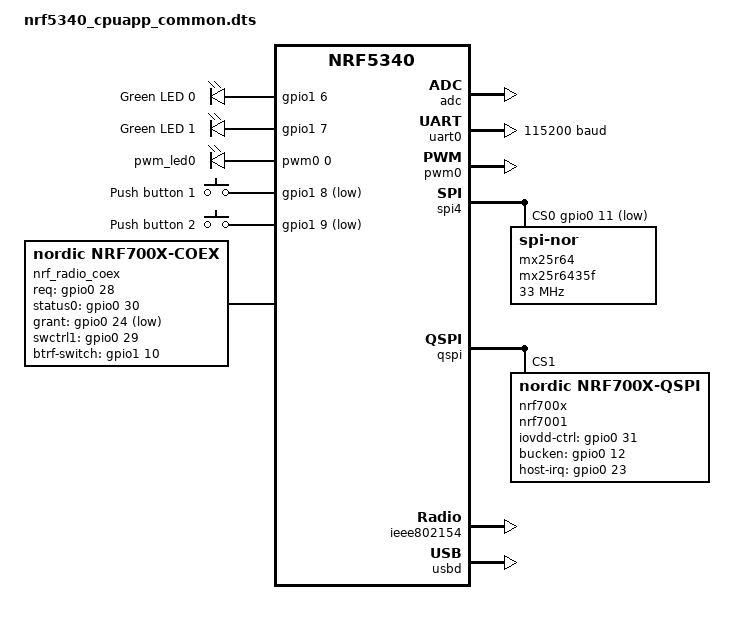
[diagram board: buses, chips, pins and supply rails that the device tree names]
/*
 * Copyright (c) 2023 Nordic Semiconductor ASA
 *
 * SPDX-License-Identifier: LicenseRef-Nordic-5-Clause
 */
#include "nrf5340_cpuapp_common-pinctrl.dtsi"

/ {

	chosen {
		zephyr,console = &uart0;
		zephyr,shell-uart = &uart0;
		zephyr,uart-mcumgr = &uart0;
		zephyr,bt-mon-uart = &uart0;
		zephyr,bt-c2h-uart = &uart0;
		zephyr,bt-hci-rpmsg-ipc = &ipc0;
		nordic,802154-spinel-ipc = &ipc0;
		zephyr,ieee802154 = &ieee802154;
	};

	leds {
		compatible = "gpio-leds";
		led0: led_0 {
			gpios = <&gpio1 6 GPIO_ACTIVE_HIGH>;
			label = "Green LED 0";
		};
		led1: led_1 {
			gpios = <&gpio1 7 GPIO_ACTIVE_HIGH>;
			label = "Green LED 1";
		};
	};

	pwmleds {
		compatible = "pwm-leds";
		pwm_led0: pwm_led_0 {
			pwms = <&pwm0 0 PWM_MSEC(20) PWM_POLARITY_NORMAL>;
		};
	};

	buttons {
		compatible = "gpio-keys";
		button0: button_0 {
			gpios = <&gpio1 8 (GPIO_PULL_UP | GPIO_ACTIVE_LOW)>;
			label = "Push button 1";
		};
		button1: button_1 {
			gpios = <&gpio1 9 (GPIO_PULL_UP | GPIO_ACTIVE_LOW)>;
			label = "Push button 2";
		};
	};

	gpio_fwd: nrf-gpio-forwarder {
		compatible = "nordic,nrf-gpio-forwarder";
		status = "okay";
		uart {
			gpios = <&gpio1 1 0>, <&gpio1 0 0>, <&gpio1 5 0>, <&gpio1 4 0>;
		};
	};

	nrf_radio_coex: nrf7001-coex {
		status = "okay";
		compatible = "nordic,nrf700x-coex";
		req-gpios = <&gpio0 28 GPIO_ACTIVE_HIGH>;
		status0-gpios = <&gpio0 30 GPIO_ACTIVE_HIGH>;
		grant-gpios = <&gpio0 24 (GPIO_PULL_DOWN | GPIO_ACTIVE_LOW)>;
		swctrl1-gpios = <&gpio0 29 GPIO_ACTIVE_HIGH>;
		btrf-switch-gpios = <&gpio1 10 GPIO_ACTIVE_HIGH>;
	};

	/* These aliases are provided for compatibility with samples */
	aliases {
		led0 = &led0;
		led1 = &led1;
		pwm-led0 = &pwm_led0;
		sw0 = &button0;
		sw1 = &button1;
		bootloader-led0 = &led0;
		mcuboot-button0 = &button0;
		mcuboot-led0 = &led0;
	};
};

&adc {
	status = "okay";
};

&gpiote {
	status = "okay";
};

&gpio0 {
	status = "okay";
};

&gpio1 {
	status = "okay";
};


&uart0 {
	status = "okay";
	current-speed = <115200>;
	pinctrl-0 = <&uart0_default>;
	pinctrl-1 = <&uart0_sleep>;
	pinctrl-names = "default", "sleep";
};

&pwm0 {
	status = "okay";
	pinctrl-0 = <&pwm0_default>;
	pinctrl-1 = <&pwm0_sleep>;
	pinctrl-names = "default", "sleep";
};

&spi4 {
	compatible = "nordic,nrf-spim";
	status = "okay";
	pinctrl-0 = <&spi4_default>;
	pinctrl-1 = <&spi4_sleep>;
	pinctrl-names = "default", "sleep";
	cs-gpios = <&gpio0 11 GPIO_ACTIVE_LOW>;
	mx25r64: mx25r6435f@0 {
		compatible = "jedec,spi-nor";
		reg = <0>;
		spi-max-frequency = <33000000>;
		jedec-id = [c2 28 17];
		sfdp-bfp = [
			e5 20 f1 ff ff ff ff 03 44 eb 08 6b 08 3b 04 bb
			ee ff ff ff ff ff 00 ff ff ff 00 ff 0c 20 0f 52
			10 d8 00 ff 23 72 f5 00 82 ed 04 cc 44 83 68 44
			30 b0 30 b0 f7 c4 d5 5c 00 be 29 ff f0 d0 ff ff
		];
		size = <67108864>;
		has-dpd;
		t-enter-dpd = <10000>;
		t-exit-dpd = <5000>;
	};
};

&qspi {
	status = "okay";

	pinctrl-0 = <&qspi_default>;
	pinctrl-1 = <&qspi_sleep>;
	pinctrl-names = "default", "sleep";
	nrf700x: nrf7001@1 {
		status = "okay";
		compatible = "nordic,nrf700x-qspi";
		reg = <1>;
		sck-frequency = <24000000>;
		quad-mode;
		/* Wi-Fi Pins used */
		iovdd-ctrl-gpios = <&gpio0 31 GPIO_ACTIVE_HIGH>;
		bucken-gpios = <&gpio0 12 GPIO_ACTIVE_HIGH>;
		host-irq-gpios = <&gpio0 23 GPIO_ACTIVE_HIGH>;
	};
};

&flash0 {

	partitions {
		compatible = "fixed-partitions";
		#address-cells = <1>;
		#size-cells = <1>;

		boot_partition: partition@0 {
			label = "mcuboot";
			reg = <0x00000000 0x00010000>;
		};
		slot0_partition: partition@10000 {
			label = "image-0";
		};
		slot0_ns_partition: partition@50000 {
			label = "image-0-nonsecure";
		};
		slot1_partition: partition@80000 {
			label = "image-1";
		};
		slot1_ns_partition: partition@c0000 {
			label = "image-1-nonsecure";
		};
		scratch_partition: partition@f0000 {
			label = "image-scratch";
			reg = <0x000f0000 0xa000>;
		};
		storage_partition: partition@fa000 {
			label = "storage";
			reg = <0x000fa000 0x00006000>;
		};
	};
};

&ieee802154 {
	status = "okay";
};

zephyr_udc0: &usbd {
	compatible = "nordic,nrf-usbd";
	status = "okay";
};

/ {

	reserved-memory {
		#address-cells = <1>;
		#size-cells = <1>;
		ranges;

		sram0_image: image@20000000 {
			/* Zephyr image(s) memory */
		};

		sram0_s: image_s@20000000 {
			/* Secure image memory */
		};

		sram0_ns: image_ns@20040000 {
			/* Non-Secure image memory */
		};
	};
};

/* Include partition configuration file */
#include "nrf5340_cpuapp_partition_conf.dts"
